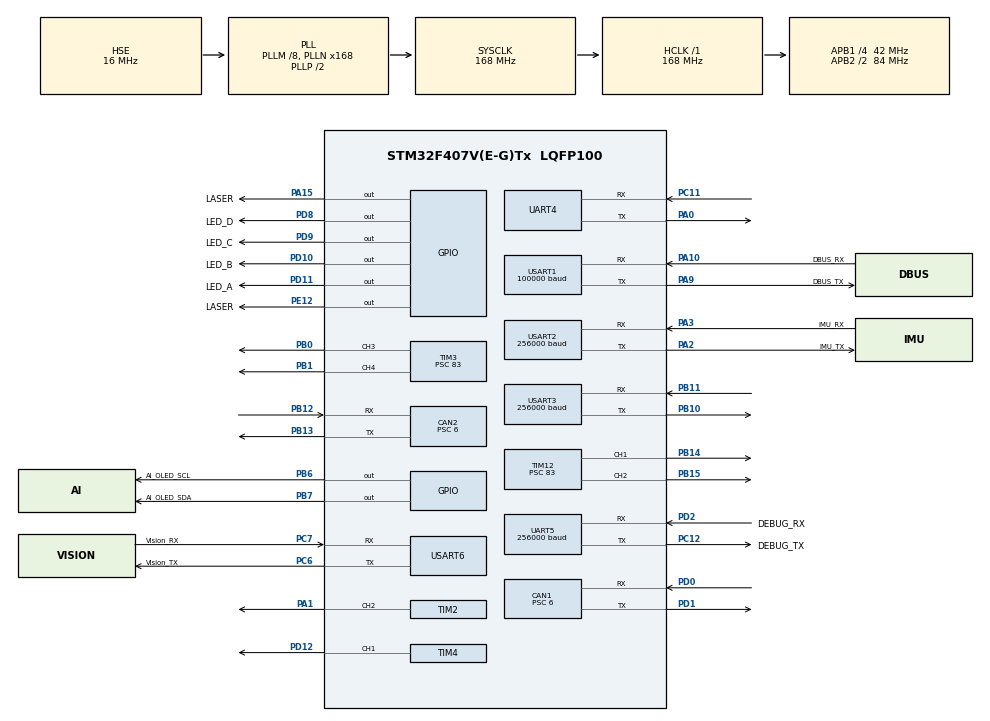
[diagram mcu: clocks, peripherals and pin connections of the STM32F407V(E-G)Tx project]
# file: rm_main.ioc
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CAN1.ABOM=ENABLE
CAN1.BS1=CAN_BS1_3TQ
CAN1.BS2=CAN_BS2_3TQ
CAN1.CalculateTimeQuantum=142.85714285714286
CAN1.Prescaler=6
CAN2.ABOM=ENABLE
CAN2.BS1=CAN_BS1_3TQ
CAN2.BS2=CAN_BS2_3TQ
CAN2.CalculateTimeQuantum=142.85714285714286
CAN2.Prescaler=6
Dma.Request0=USART2_RX
Dma.Request1=USART3_RX
Dma.Request10=USART6_TX
Dma.Request11=USART1_TX
Dma.Request2=USART3_TX
Dma.Request3=USART1_RX
Dma.Request4=USART6_RX
Dma.Request5=UART5_RX
Dma.Request6=UART5_TX
Dma.Request7=USART2_TX
Dma.Request8=UART4_RX
Dma.Request9=UART4_TX
Dma.UART4_RX.8.Direction=DMA_PERIPH_TO_MEMORY
Dma.UART4_RX.8.FIFOMode=DMA_FIFOMODE_DISABLE
Dma.UART4_RX.8.Instance=DMA1_Stream2
Dma.UART4_RX.8.MemDataAlignment=DMA_MDATAALIGN_BYTE
Dma.UART4_RX.8.MemInc=DMA_MINC_ENABLE
Dma.UART4_RX.8.Mode=DMA_NORMAL
Dma.UART4_RX.8.PeriphDataAlignment=DMA_PDATAALIGN_BYTE
Dma.UART4_RX.8.PeriphInc=DMA_PINC_DISABLE
Dma.UART4_RX.8.Priority=DMA_PRIORITY_LOW
Dma.UART4_TX.9.Direction=DMA_MEMORY_TO_PERIPH
Dma.UART4_TX.9.FIFOMode=DMA_FIFOMODE_DISABLE
Dma.UART4_TX.9.Instance=DMA1_Stream4
Dma.UART4_TX.9.MemDataAlignment=DMA_MDATAALIGN_BYTE
Dma.UART4_TX.9.MemInc=DMA_MINC_ENABLE
Dma.UART4_TX.9.Mode=DMA_NORMAL
Dma.UART4_TX.9.PeriphDataAlignment=DMA_PDATAALIGN_BYTE
Dma.UART4_TX.9.PeriphInc=DMA_PINC_DISABLE
Dma.UART4_TX.9.Priority=DMA_PRIORITY_LOW
Dma.UART5_RX.5.Direction=DMA_PERIPH_TO_MEMORY
Dma.UART5_RX.5.FIFOMode=DMA_FIFOMODE_DISABLE
Dma.UART5_RX.5.Instance=DMA1_Stream0
Dma.UART5_RX.5.MemDataAlignment=DMA_MDATAALIGN_BYTE
Dma.UART5_RX.5.MemInc=DMA_MINC_ENABLE
Dma.UART5_RX.5.Mode=DMA_NORMAL
Dma.UART5_RX.5.PeriphDataAlignment=DMA_PDATAALIGN_BYTE
Dma.UART5_RX.5.PeriphInc=DMA_PINC_DISABLE
Dma.UART5_RX.5.Priority=DMA_PRIORITY_LOW
Dma.UART5_TX.6.Direction=DMA_MEMORY_TO_PERIPH
Dma.UART5_TX.6.FIFOMode=DMA_FIFOMODE_DISABLE
Dma.UART5_TX.6.Instance=DMA1_Stream7
Dma.UART5_TX.6.MemDataAlignment=DMA_MDATAALIGN_BYTE
Dma.UART5_TX.6.MemInc=DMA_MINC_ENABLE
Dma.UART5_TX.6.Mode=DMA_NORMAL
Dma.UART5_TX.6.PeriphDataAlignment=DMA_PDATAALIGN_BYTE
Dma.UART5_TX.6.PeriphInc=DMA_PINC_DISABLE
Dma.UART5_TX.6.Priority=DMA_PRIORITY_LOW
Dma.USART1_RX.3.Direction=DMA_PERIPH_TO_MEMORY
Dma.USART1_RX.3.FIFOMode=DMA_FIFOMODE_DISABLE
Dma.USART1_RX.3.Instance=DMA2_Stream2
Dma.USART1_RX.3.MemDataAlignment=DMA_MDATAALIGN_BYTE
Dma.USART1_RX.3.MemInc=DMA_MINC_ENABLE
Dma.USART1_RX.3.Mode=DMA_NORMAL
Dma.USART1_RX.3.PeriphDataAlignment=DMA_PDATAALIGN_BYTE
Dma.USART1_RX.3.PeriphInc=DMA_PINC_DISABLE
Dma.USART1_RX.3.Priority=DMA_PRIORITY_LOW
Dma.USART1_TX.11.Direction=DMA_MEMORY_TO_PERIPH
Dma.USART1_TX.11.FIFOMode=DMA_FIFOMODE_DISABLE
Dma.USART1_TX.11.Instance=DMA2_Stream7
Dma.USART1_TX.11.MemDataAlignment=DMA_MDATAALIGN_BYTE
Dma.USART1_TX.11.MemInc=DMA_MINC_ENABLE
Dma.USART1_TX.11.Mode=DMA_NORMAL
Dma.USART1_TX.11.PeriphDataAlignment=DMA_PDATAALIGN_BYTE
Dma.USART1_TX.11.PeriphInc=DMA_PINC_DISABLE
Dma.USART1_TX.11.Priority=DMA_PRIORITY_LOW
Dma.USART2_RX.0.Direction=DMA_PERIPH_TO_MEMORY
Dma.USART2_RX.0.FIFOMode=DMA_FIFOMODE_DISABLE
Dma.USART2_RX.0.Instance=DMA1_Stream5
Dma.USART2_RX.0.MemDataAlignment=DMA_MDATAALIGN_BYTE
Dma.USART2_RX.0.MemInc=DMA_MINC_ENABLE
Dma.USART2_RX.0.Mode=DMA_NORMAL
Dma.USART2_RX.0.PeriphDataAlignment=DMA_PDATAALIGN_BYTE
Dma.USART2_RX.0.PeriphInc=DMA_PINC_DISABLE
Dma.USART2_RX.0.Priority=DMA_PRIORITY_LOW
Dma.USART2_TX.7.Direction=DMA_MEMORY_TO_PERIPH
Dma.USART2_TX.7.FIFOMode=DMA_FIFOMODE_DISABLE
Dma.USART2_TX.7.Instance=DMA1_Stream6
Dma.USART2_TX.7.MemDataAlignment=DMA_MDATAALIGN_BYTE
Dma.USART2_TX.7.MemInc=DMA_MINC_ENABLE
Dma.USART2_TX.7.Mode=DMA_NORMAL
Dma.USART2_TX.7.PeriphDataAlignment=DMA_PDATAALIGN_BYTE
Dma.USART2_TX.7.PeriphInc=DMA_PINC_DISABLE
Dma.USART2_TX.7.Priority=DMA_PRIORITY_LOW
Dma.USART3_RX.1.Direction=DMA_PERIPH_TO_MEMORY
Dma.USART3_RX.1.FIFOMode=DMA_FIFOMODE_DISABLE
Dma.USART3_RX.1.Instance=DMA1_Stream1
Dma.USART3_RX.1.MemDataAlignment=DMA_MDATAALIGN_BYTE
Dma.USART3_RX.1.MemInc=DMA_MINC_ENABLE
Dma.USART3_RX.1.Mode=DMA_NORMAL
Dma.USART3_RX.1.PeriphDataAlignment=DMA_PDATAALIGN_BYTE
Dma.USART3_RX.1.PeriphInc=DMA_PINC_DISABLE
Dma.USART3_RX.1.Priority=DMA_PRIORITY_LOW
Dma.USART3_TX.2.Direction=DMA_MEMORY_TO_PERIPH
Dma.USART3_TX.2.FIFOMode=DMA_FIFOMODE_DISABLE
Dma.USART3_TX.2.Instance=DMA1_Stream3
Dma.USART3_TX.2.MemDataAlignment=DMA_MDATAALIGN_BYTE
Dma.USART3_TX.2.MemInc=DMA_MINC_ENABLE
Dma.USART3_TX.2.Mode=DMA_NORMAL
Dma.USART3_TX.2.PeriphDataAlignment=DMA_PDATAALIGN_BYTE
Dma.USART3_TX.2.PeriphInc=DMA_PINC_DISABLE
Dma.USART3_TX.2.Priority=DMA_PRIORITY_LOW
Dma.USART6_RX.4.Direction=DMA_PERIPH_TO_MEMORY
Dma.USART6_RX.4.FIFOMode=DMA_FIFOMODE_DISABLE
Dma.USART6_RX.4.Instance=DMA2_Stream1
Dma.USART6_RX.4.MemDataAlignment=DMA_MDATAALIGN_BYTE
Dma.USART6_RX.4.MemInc=DMA_MINC_ENABLE
Dma.USART6_RX.4.Mode=DMA_NORMAL
Dma.USART6_RX.4.PeriphDataAlignment=DMA_PDATAALIGN_BYTE
Dma.USART6_RX.4.PeriphInc=DMA_PINC_DISABLE
Dma.USART6_RX.4.Priority=DMA_PRIORITY_LOW
Dma.USART6_TX.10.Direction=DMA_MEMORY_TO_PERIPH
Dma.USART6_TX.10.FIFOMode=DMA_FIFOMODE_DISABLE
Dma.USART6_TX.10.Instance=DMA2_Stream6
Dma.USART6_TX.10.MemDataAlignment=DMA_MDATAALIGN_BYTE
Dma.USART6_TX.10.MemInc=DMA_MINC_ENABLE
Dma.USART6_TX.10.Mode=DMA_NORMAL
Dma.USART6_TX.10.PeriphDataAlignment=DMA_PDATAALIGN_BYTE
Dma.USART6_TX.10.PeriphInc=DMA_PINC_DISABLE
Dma.USART6_TX.10.Priority=DMA_PRIORITY_LOW
FREERTOS.INCLUDE_vTaskDelayUntil=1
FREERTOS.Tasks01=defaultTask,0,128,StartDefaultTask,Default,NULL
FREERTOS.configUSE_TIMERS=1
Mcu.Family=STM32F4
Mcu.Name=STM32F407V(E-G)Tx
Mcu.Package=LQFP100
NVIC.CAN1_RX0_IRQn=true\:5\:0\:false\:false\:true\:true\:true\:true
NVIC.CAN1_RX1_IRQn=true\:5\:0\:false\:false\:true\:true\:true\:true
NVIC.CAN1_SCE_IRQn=true\:5\:0\:false\:false\:true\:true\:true\:true
NVIC.CAN1_TX_IRQn=true\:5\:0\:false\:false\:true\:true\:true\:true
NVIC.CAN2_RX0_IRQn=true\:5\:0\:false\:false\:true\:true\:true\:true
NVIC.CAN2_RX1_IRQn=true\:5\:0\:false\:false\:true\:true\:true\:true
NVIC.CAN2_SCE_IRQn=true\:5\:0\:false\:false\:true\:true\:true\:true
NVIC.CAN2_TX_IRQn=true\:5\:0\:false\:false\:true\:true\:true\:true
NVIC.DMA1_Stream0_IRQn=true\:5\:0\:false\:false\:true\:true\:false\:true
NVIC.DMA1_Stream1_IRQn=true\:5\:0\:false\:false\:true\:true\:false\:true
NVIC.DMA1_Stream2_IRQn=true\:5\:0\:false\:false\:true\:true\:false\:true
NVIC.DMA1_Stream3_IRQn=true\:5\:0\:false\:false\:true\:true\:false\:true
NVIC.DMA1_Stream4_IRQn=true\:5\:0\:false\:false\:true\:true\:false\:true
NVIC.DMA1_Stream5_IRQn=true\:5\:0\:false\:false\:true\:true\:false\:true
NVIC.DMA1_Stream6_IRQn=true\:5\:0\:false\:false\:true\:true\:false\:true
NVIC.DMA1_Stream7_IRQn=true\:5\:0\:false\:false\:true\:true\:false\:true
NVIC.DMA2_Stream1_IRQn=true\:5\:0\:false\:false\:true\:true\:false\:true
NVIC.DMA2_Stream2_IRQn=true\:5\:0\:false\:false\:true\:true\:false\:true
NVIC.DMA2_Stream6_IRQn=true\:5\:0\:false\:false\:true\:true\:false\:true
NVIC.DMA2_Stream7_IRQn=true\:5\:0\:false\:false\:true\:true\:false\:true
NVIC.PriorityGroup=NVIC_PRIORITYGROUP_4
NVIC.TIM1_UP_TIM10_IRQn=true\:0\:0\:false\:false\:true\:false\:false\:true
NVIC.TimeBase=TIM1_UP_TIM10_IRQn
NVIC.TimeBaseIP=TIM10
NVIC.UART4_IRQn=true\:5\:0\:false\:false\:true\:true\:true\:true
NVIC.UART5_IRQn=true\:5\:0\:false\:false\:true\:true\:true\:true
NVIC.USART1_IRQn=true\:5\:0\:false\:false\:true\:true\:true\:true
NVIC.USART2_IRQn=true\:5\:0\:false\:false\:true\:true\:true\:true
NVIC.USART3_IRQn=true\:5\:0\:false\:false\:true\:true\:true\:true
NVIC.USART6_IRQn=true\:5\:0\:false\:false\:true\:true\:true\:true
PA0-WKUP.Mode=Asynchronous
PA0-WKUP.Signal=UART4_TX
PA1.Signal=S_TIM2_CH2
PA10.GPIO_Label=DBUS_RX
PA10.Mode=Asynchronous
PA10.Signal=USART1_RX
PA13.Mode=Serial_Wire
PA13.Signal=SYS_JTMS-SWDIO
PA14.Mode=Serial_Wire
PA14.Signal=SYS_JTCK-SWCLK
PA15.GPIO_Label=LASER
PA15.Signal=GPIO_Output
PA2.GPIO_Label=IMU_TX
PA2.Mode=Asynchronous
PA2.Signal=USART2_TX
PA3.GPIO_Label=IMU_RX
PA3.Mode=Asynchronous
PA3.Signal=USART2_RX
PA9.GPIO_Label=DBUS_TX
PA9.Mode=Asynchronous
PA9.Signal=USART1_TX
PB0.Signal=S_TIM3_CH3
PB1.Signal=S_TIM3_CH4
PB10.Mode=Asynchronous
PB10.Signal=USART3_TX
PB11.Mode=Asynchronous
PB11.Signal=USART3_RX
PB12.Mode=Slave
PB12.Signal=CAN2_RX
PB13.Mode=Slave
PB13.Signal=CAN2_TX
PB14.Signal=S_TIM12_CH1
PB15.Signal=S_TIM12_CH2
PB6.GPIO_Label=AI_OLED_SCL
PB6.Signal=GPIO_Output
PB7.GPIO_Label=AI_OLED_SDA
PB7.Signal=GPIO_Output
PC11.Mode=Asynchronous
PC11.Signal=UART4_RX
PC12.GPIO_Label=DEBUG_TX
PC12.Mode=Asynchronous
PC12.Signal=UART5_TX
PC6.GPIO_Label=Vision_TX
PC6.Mode=Asynchronous
PC6.Signal=USART6_TX
PC7.GPIO_Label=Vision_RX
PC7.Mode=Asynchronous
PC7.Signal=USART6_RX
PD0.Mode=Master
PD0.Signal=CAN1_RX
PD1.Mode=Master
PD1.Signal=CAN1_TX
PD10.GPIO_Label=LED_B
PD10.Signal=GPIO_Output
PD11.GPIO_Label=LED_A
PD11.Signal=GPIO_Output
PD12.Signal=S_TIM4_CH1
PD2.GPIO_Label=DEBUG_RX
PD2.Mode=Asynchronous
PD2.Signal=UART5_RX
PD8.GPIO_Label=LED_D
PD8.Signal=GPIO_Output
PD9.GPIO_Label=LED_C
PD9.Signal=GPIO_Output
PE12.GPIO_Label=LASER
PE12.Signal=GPIO_Output
PH0-OSC_IN.Mode=HSE-External-Oscillator
PH0-OSC_IN.Signal=RCC_OSC_IN
PH1-OSC_OUT.Mode=HSE-External-Oscillator
PH1-OSC_OUT.Signal=RCC_OSC_OUT
ProjectManager.HeapSize=0x1000
ProjectManager.StackSize=0x600
ProjectManager.TargetToolchain=MDK-ARM V5
RCC.48MHZClocksFreq_Value=84000000
RCC.AHBFreq_Value=168000000
RCC.APB1CLKDivider=RCC_HCLK_DIV4
RCC.APB1Freq_Value=42000000
RCC.APB1TimFreq_Value=84000000
RCC.APB2CLKDivider=RCC_HCLK_DIV2
RCC.APB2Freq_Value=84000000
RCC.APB2TimFreq_Value=168000000
RCC.CortexFreq_Value=168000000
RCC.HCLKFreq_Value=168000000
RCC.HSE_VALUE=16000000
RCC.HSI_VALUE=16000000
RCC.LSE_VALUE=32768
RCC.PLLM=8
RCC.PLLN=168
RCC.PLLSourceVirtual=RCC_PLLSOURCE_HSE
RCC.SYSCLKFreq_VALUE=168000000
RCC.SYSCLKSource=RCC_SYSCLKSOURCE_PLLCLK
RCC.VCOOutputFreq_Value=336000000
SH.S_TIM12_CH1.0=TIM12_CH1,PWM Generation1 CH1
SH.S_TIM12_CH2.0=TIM12_CH2,PWM Generation2 CH2
SH.S_TIM2_CH2.0=TIM2_CH2,PWM Generation2 CH2
SH.S_TIM3_CH3.0=TIM3_CH3,PWM Generation3 CH3
SH.S_TIM3_CH4.0=TIM3_CH4,PWM Generation4 CH4
SH.S_TIM4_CH1.0=TIM4_CH1,PWM Generation1 CH1
TIM12.Channel-PWM\ Generation1\ CH1=TIM_CHANNEL_1
TIM12.Channel-PWM\ Generation2\ CH2=TIM_CHANNEL_2
TIM12.Period=19999
TIM12.Prescaler=83
TIM13.Period=19999
TIM13.Prescaler=83
TIM2.Channel-PWM\ Generation2\ CH2=TIM_CHANNEL_2
TIM2.Period=19999
TIM2.Prescaler=83
TIM3.Channel-PWM\ Generation3\ CH3=TIM_CHANNEL_3
TIM3.Channel-PWM\ Generation4\ CH4=TIM_CHANNEL_4
TIM3.Period=19999
TIM3.Prescaler=83
TIM3.Pulse-PWM\ Generation3\ CH3=800
TIM3.Pulse-PWM\ Generation4\ CH4=800
TIM4.Channel-PWM\ Generation1\ CH1=TIM_CHANNEL_1
TIM4.Period=19999
TIM4.Prescaler=83
TIM4.Pulse-PWM\ Generation1\ CH1=800
UART4.VirtualMode=Asynchronous
UART5.BaudRate=256000
UART5.VirtualMode=Asynchronous
USART1.BaudRate=100000
USART1.Parity=PARITY_EVEN
USART1.VirtualMode=VM_ASYNC
USART1.WordLength=WORDLENGTH_9B
USART2.BaudRate=256000
USART2.VirtualMode=VM_ASYNC
USART3.BaudRate=256000
USART3.VirtualMode=VM_ASYNC
USART6.VirtualMode=VM_ASYNC
VP_FREERTOS_VS_CMSIS_V1.Mode=CMSIS_V1
VP_SYS_VS_tim10.Mode=TIM10
VP_TIM13_VS_ClockSourceINT.Mode=Enable_Timer
board=custom

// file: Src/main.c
/* USER CODE BEGIN Header */
/**
  ******************************************************************************
  * @file           : main.c
  * @brief          : Main program body
  ******************************************************************************
  * @attention
  *
  * <h2><center>&copy; Copyright (c) 2019 STMicroelectronics.
  * All rights reserved.</center></h2>
  *
  * This software component is licensed by ST under Ultimate Liberty license
  * SLA0044, the "License"; You may not use this file except in compliance with
  * the License. You may obtain a copy of the License at:
  *                             www.st.com/SLA0044
  *
  ******************************************************************************
  */
/* USER CODE END Header */

#include "main.h"
#include "cmsis_os.h"
#include "can.h"
#include "dma.h"
#include "tim.h"
#include "usart.h"
#include "gpio.h"

/* USER CODE BEGIN Includes */
#include "bsp_can.h"
#include "bsp_usart.h"
#include "chassis_task.h"
/* USER CODE END Includes */

void SystemClock_Config(void);
void MX_FREERTOS_Init(void);

int main(void)
{

  /* MCU Configuration--------------------------------------------------------*/

  /* Reset of all peripherals, Initializes the Flash interface and the Systick. */

	HAL_Init();

  /* Configure the system clock */
  SystemClock_Config();

  /* Initialize all configured peripherals */
  MX_GPIO_Init();
  MX_DMA_Init();
  MX_CAN1_Init();
  MX_CAN2_Init();
  MX_TIM2_Init();
  MX_TIM3_Init();
  MX_TIM13_Init();
  MX_UART5_Init();
  MX_USART1_UART_Init();
  MX_USART2_UART_Init();
  MX_USART3_UART_Init();
  MX_USART6_UART_Init();
  MX_TIM12_Init();
  MX_UART4_Init();
  MX_TIM4_Init();
  /* USER CODE BEGIN 2 */
	HAL_Delay(100);
	can_device_init();
	USER_UART_Init();
	chassis_param_init();
	HAL_GPIO_WritePin(GPIOD,GPIO_PIN_8,GPIO_PIN_SET);
	HAL_GPIO_WritePin(GPIOD,GPIO_PIN_9,GPIO_PIN_SET);
	HAL_GPIO_WritePin(GPIOD,GPIO_PIN_10,GPIO_PIN_SET);
	HAL_GPIO_WritePin(GPIOD,GPIO_PIN_11,GPIO_PIN_SET);
	HAL_Delay(200);

  /* USER CODE END 2 */

  /* Call init function for freertos objects (in freertos.c) */
  MX_FREERTOS_Init();

  /* Start scheduler */
  osKernelStart();

  /* We should never get here as control is now taken by the scheduler */

  /* Infinite loop */
  while (1)
  {

  }
}

void SystemClock_Config(void)
{
  RCC_OscInitTypeDef RCC_OscInitStruct = {0};
  RCC_ClkInitTypeDef RCC_ClkInitStruct = {0};

  /** Configure the main internal regulator output voltage
  */
  __HAL_RCC_PWR_CLK_ENABLE();
  __HAL_PWR_VOLTAGESCALING_CONFIG(PWR_REGULATOR_VOLTAGE_SCALE1);
  /** Initializes the CPU, AHB and APB busses clocks
  */
  RCC_OscInitStruct.OscillatorType = RCC_OSCILLATORTYPE_HSE;
  RCC_OscInitStruct.HSEState = RCC_HSE_ON;
  RCC_OscInitStruct.PLL.PLLState = RCC_PLL_ON;
  RCC_OscInitStruct.PLL.PLLSource = RCC_PLLSOURCE_HSE;
  RCC_OscInitStruct.PLL.PLLM = 8;
  RCC_OscInitStruct.PLL.PLLN = 168;
  RCC_OscInitStruct.PLL.PLLP = RCC_PLLP_DIV2;
  RCC_OscInitStruct.PLL.PLLQ = 4;
  if (HAL_RCC_OscConfig(&RCC_OscInitStruct) != HAL_OK)
  {
    Error_Handler();
  }
  /** Initializes the CPU, AHB and APB busses clocks
  */
  RCC_ClkInitStruct.ClockType = RCC_CLOCKTYPE_HCLK|RCC_CLOCKTYPE_SYSCLK
                              |RCC_CLOCKTYPE_PCLK1|RCC_CLOCKTYPE_PCLK2;
  RCC_ClkInitStruct.SYSCLKSource = RCC_SYSCLKSOURCE_PLLCLK;
  RCC_ClkInitStruct.AHBCLKDivider = RCC_SYSCLK_DIV1;
  RCC_ClkInitStruct.APB1CLKDivider = RCC_HCLK_DIV4;
  RCC_ClkInitStruct.APB2CLKDivider = RCC_HCLK_DIV2;

  if (HAL_RCC_ClockConfig(&RCC_ClkInitStruct, FLASH_LATENCY_5) != HAL_OK)
  {
    Error_Handler();
  }
}

void HAL_TIM_PeriodElapsedCallback(TIM_HandleTypeDef *htim)
{
  if (htim->Instance == TIM10) {
    HAL_IncTick();
  }
}

void Error_Handler(void)
{
}

/************************ (C) COPYRIGHT STMicroelectronics *****END OF FILE****/

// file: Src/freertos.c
/* USER CODE BEGIN Header */
/**
  ******************************************************************************
  * File Name          : freertos.c
  * Description        : Code for freertos applications
  ******************************************************************************
  * @attention
  *
  * <h2><center>&copy; Copyright (c) 2019 STMicroelectronics.
  * All rights reserved.</center></h2>
  *
  * This software component is licensed by ST under Ultimate Liberty license
  * SLA0044, the "License"; You may not use this file except in compliance with
  * the License. You may obtain a copy of the License at:
  *                             www.st.com/SLA0044
  *
  ******************************************************************************
  */
/* USER CODE END Header */

#include "FreeRTOS.h"
#include "task.h"
#include "main.h"
#include "cmsis_os.h"

/* USER CODE BEGIN Includes */
#include "stm32f4xx_hal.h"
#include "comm_task.h"
#include "chassis_task.h"
#include "debug_task.h"
#include "modeswitch_task.h"
#include "status_task.h"
/* USER CODE END Includes */

/* USER CODE BEGIN Variables */
osThreadId can_msg_send_task_t;
osThreadId chassis_task_t;
osThreadId debug_task_t;
osThreadId mode_sw_task_t;
osThreadId status_task_t;
/* USER CODE END Variables */
osThreadId defaultTaskHandle;

void StartDefaultTask(void const * argument);

void MX_FREERTOS_Init(void); /* (MISRA C 2004 rule 8.1) */

/* GetIdleTaskMemory prototype (linked to static allocation support) */
void vApplicationGetIdleTaskMemory( StaticTask_t **ppxIdleTaskTCBBuffer, StackType_t **ppxIdleTaskStackBuffer, uint32_t *pulIdleTaskStackSize );

/* GetTimerTaskMemory prototype (linked to static allocation support) */
void vApplicationGetTimerTaskMemory( StaticTask_t **ppxTimerTaskTCBBuffer, StackType_t **ppxTimerTaskStackBuffer, uint32_t *pulTimerTaskStackSize );

/* USER CODE BEGIN GET_IDLE_TASK_MEMORY */
static StaticTask_t xIdleTaskTCBBuffer;
static StackType_t xIdleStack[configMINIMAL_STACK_SIZE];

void vApplicationGetIdleTaskMemory( StaticTask_t **ppxIdleTaskTCBBuffer, StackType_t **ppxIdleTaskStackBuffer, uint32_t *pulIdleTaskStackSize )
{
  *ppxIdleTaskTCBBuffer = &xIdleTaskTCBBuffer;
  *ppxIdleTaskStackBuffer = &xIdleStack[0];
  *pulIdleTaskStackSize = configMINIMAL_STACK_SIZE;
  /* place for user code */
}
/* USER CODE END GET_IDLE_TASK_MEMORY */

/* USER CODE BEGIN GET_TIMER_TASK_MEMORY */
static StaticTask_t xTimerTaskTCBBuffer;
static StackType_t xTimerStack[configTIMER_TASK_STACK_DEPTH];

void vApplicationGetTimerTaskMemory( StaticTask_t **ppxTimerTaskTCBBuffer, StackType_t **ppxTimerTaskStackBuffer, uint32_t *pulTimerTaskStackSize )
{
  *ppxTimerTaskTCBBuffer = &xTimerTaskTCBBuffer;
  *ppxTimerTaskStackBuffer = &xTimerStack[0];
  *pulTimerTaskStackSize = configTIMER_TASK_STACK_DEPTH;
  /* place for user code */
}
/* USER CODE END GET_TIMER_TASK_MEMORY */

void MX_FREERTOS_Init(void) {

  /* USER CODE BEGIN RTOS_TIMERS */
  /* start timers, add new ones, ... */
	taskENTER_CRITICAL();

  /* USER CODE END RTOS_TIMERS */

  /* Create the thread(s) */
  /* definition and creation of defaultTask */
    osThreadDef(defaultTask, StartDefaultTask, osPriorityNormal, 0, 128);
    defaultTaskHandle = osThreadCreate(osThread(defaultTask), NULL);

  /* USER CODE BEGIN RTOS_THREADS */
  /* add threads, ... */
			/* high priority task */

	/***************************High priority task***************************/
	osThreadDef(canTask, can_msg_send_task, osPriorityHigh, 0, 512);
    can_msg_send_task_t = osThreadCreate(osThread(canTask), NULL);

	/***********************AboveNormal priority task***********************/
	osThreadDef(chassisTask, chassis_task, osPriorityAboveNormal, 0, 512);
	chassis_task_t = osThreadCreate(osThread(chassisTask),NULL);

	osThreadDef(modeswTask, mode_switch_task, osPriorityAboveNormal, 0, 128);
	mode_sw_task_t = osThreadCreate(osThread(modeswTask),NULL);

	/**************************Normal priority task**************************/

	/* low priority task */
//	osThreadDef(debugTask, debug_task, osPriorityLow, 0, 128);
//	debug_task_t = osThreadCreate(osThread(debugTask), NULL);

	 osThreadDef(statusTask, status_task, osPriorityLow, 0, 128);
    status_task_t = osThreadCreate(osThread(statusTask),NULL);
	taskEXIT_CRITICAL();
  /* USER CODE END RTOS_THREADS */

}

void StartDefaultTask(void const * argument)
{

  /* USER CODE BEGIN StartDefaultTask */
  /* Infinite loop */
  for(;;)
  {
    osDelay(1000);
  }
  /* USER CODE END StartDefaultTask */
}

/************************ (C) COPYRIGHT STMicroelectronics *****END OF FILE****/
